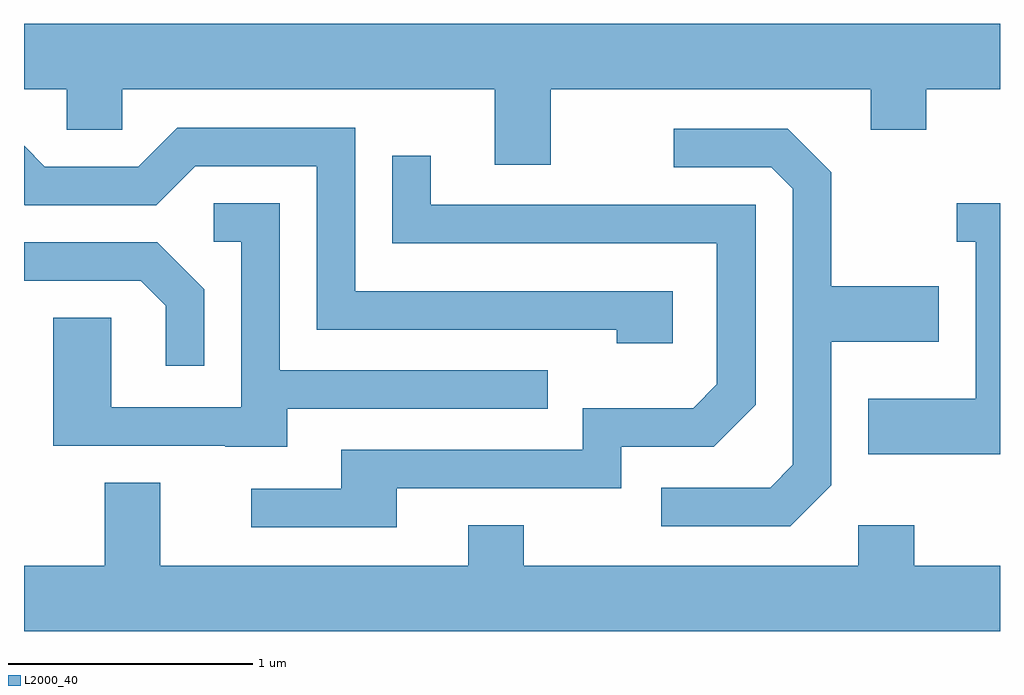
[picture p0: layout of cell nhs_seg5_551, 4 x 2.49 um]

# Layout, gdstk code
import gdstk
lib = gdstk.Library(unit=1e-6, precision=1e-09)
def P(c, l, *ps):  # polygons
    for p in ps: c.add(gdstk.Polygon(p, *l))
L2000_40 = (2000, 40)

nhs_seg5_551 = lib.new_cell('nhs_seg5_551')
P(nhs_seg5_551, L2000_40, [(203.769,1412.396),(205.081,1412.396),(205.081,1412.231),(205.309,1412.231),(205.309,1412.396),(205.611,1412.396),(205.611,1412.664),(201.611,1412.664),(201.611,1412.396),(201.786,1412.396),(201.786,1412.231),(202.014,1412.231),(202.014,1412.396),(203.541,1412.396),(203.541,1412.086),(203.769,1412.086)],
  [(204.269,1411.569),(202.969,1411.569),(202.969,1412.239),(202.239,1412.239),(202.079,1412.079),(201.697,1412.079),(201.611,1412.165),(201.611,1411.924),(201.614,1411.921),(202.152,1411.921),(202.312,1412.081),(202.811,1412.081),(202.811,1411.411),(204.041,1411.411),(204.041,1411.356),(204.269,1411.356)],
  [(204.919,1410.774),(204.919,1411.361),(205.359,1411.361),(205.359,1411.589),(204.919,1411.589),(204.919,1412.057),(204.742,1412.234),(204.273,1412.234),(204.273,1412.076),(204.674,1412.076),(204.761,1411.989),(204.761,1410.857),(204.669,1410.764),(204.223,1410.764),(204.223,1410.606),(204.752,1410.606)],
  [(203.139,1410.761),(204.059,1410.761),(204.059,1410.931),(204.437,1410.931),(204.609,1411.104),(204.609,1411.924),(203.279,1411.924),(203.279,1412.123),(203.121,1412.123),(203.121,1411.766),(204.451,1411.766),(204.451,1411.187),(204.354,1411.089),(203.901,1411.089),(203.901,1410.919),(202.911,1410.919),(202.911,1410.759),(202.543,1410.759),(202.543,1410.601),(203.139,1410.601)],
  [(205.611,1411.929),(205.433,1411.929),(205.433,1411.771),(205.511,1411.771),(205.511,1411.129),(205.071,1411.129),(205.071,1410.901),(205.611,1410.901)],
  [(202.689,1411.086),(203.758,1411.086),(203.758,1411.244),(202.659,1411.244),(202.659,1411.929),(202.388,1411.929),(202.388,1411.771),(202.501,1411.771),(202.501,1411.094),(201.969,1411.094),(201.969,1411.459),(201.731,1411.459),(201.731,1410.936),(202.435,1410.936),(202.435,1410.931),(202.689,1410.931)],
  [(202.349,1411.577),(202.157,1411.769),(201.611,1411.769),(201.611,1411.611),(202.089,1411.611),(202.191,1411.509),(202.191,1411.263),(202.349,1411.263)],
  [(205.611,1410.444),(205.259,1410.444),(205.259,1410.609),(205.031,1410.609),(205.031,1410.444),(203.659,1410.444),(203.659,1410.609),(203.431,1410.609),(203.431,1410.444),(202.169,1410.444),(202.169,1410.784),(201.941,1410.784),(201.941,1410.444),(201.611,1410.444),(201.611,1410.176),(205.611,1410.176)])

lib.write_gds('nhs_seg5_551.gds')
